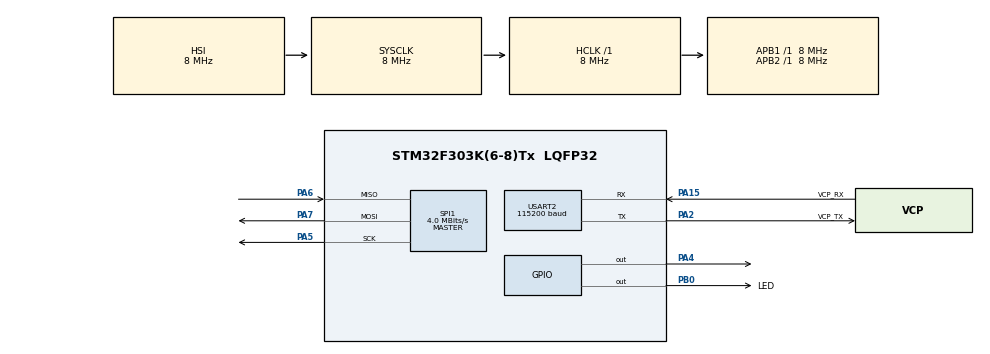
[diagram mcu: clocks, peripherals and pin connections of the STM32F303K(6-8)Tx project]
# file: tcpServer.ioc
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Mcu.Family=STM32F3
Mcu.Name=STM32F303K(6-8)Tx
Mcu.Package=LQFP32
NVIC.PriorityGroup=NVIC_PRIORITYGROUP_4
PA13.GPIO_Label=SWDIO
PA13.Signal=SYS_JTMS-SWDIO
PA14.GPIO_Label=SWCLK
PA14.Signal=SYS_JTCK-SWCLK
PA15.GPIO_Label=VCP_RX
PA15.Mode=Asynchronous
PA15.Signal=USART2_RX
PA2.GPIO_Label=VCP_TX
PA2.Mode=Asynchronous
PA2.Signal=USART2_TX
PA4.Signal=GPIO_Output
PA5.Mode=Full_Duplex_Master
PA5.Signal=SPI1_SCK
PA6.Mode=Full_Duplex_Master
PA6.Signal=SPI1_MISO
PA7.Mode=Full_Duplex_Master
PA7.Signal=SPI1_MOSI
PB0.GPIO_Label=LED
PB0.Signal=GPIO_Output
PF0\ /\ OSC_IN.GPIO_Label=MCO
PF0\ /\ OSC_IN.Signal=RCC_OSC_IN
ProjectManager.HeapSize=0x200
ProjectManager.StackSize=0x400
ProjectManager.TargetToolchain=STM32CubeIDE
RCC.AHBFreq_Value=8000000
RCC.APB1Freq_Value=8000000
RCC.APB2Freq_Value=8000000
RCC.CortexFreq_Value=8000000
RCC.HSE_VALUE=8000000
RCC.HSI_VALUE=8000000
RCC.SYSCLKFreq_VALUE=8000000
SPI1.CalculateBaudRate=4.0 MBits/s
SPI1.DataSize=SPI_DATASIZE_8BIT
SPI1.Direction=SPI_DIRECTION_2LINES
SPI1.Mode=SPI_MODE_MASTER
SPI1.VirtualType=VM_MASTER
USART2.BaudRate=115200
USART2.VirtualMode-Asynchronous=VM_ASYNC
board=NUCLEO-F303K8

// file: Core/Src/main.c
/* USER CODE BEGIN Header */
/**
 ******************************************************************************
 * @file           : main.c
 * @brief          : Main program body
 ******************************************************************************
 * @attention
 *
 * Copyright (c) 2025 STMicroelectronics.
 * All rights reserved.
 *
 * This software is licensed under terms that can be found in the LICENSE file
 * in the root directory of this software component.
 * If no LICENSE file comes with this software, it is provided AS-IS.
 *
 ******************************************************************************
 */
/* USER CODE END Header */
#include "main.h"

/* USER CODE BEGIN Includes */

#include <stdarg.h>

#include <string.h>
#include <stdbool.h>
#include <stdio.h>
#include "wizchip_conf.h"
#include "socket.h"

/* USER CODE END Includes */

SPI_HandleTypeDef hspi1;

UART_HandleTypeDef huart2;

/* USER CODE BEGIN PV */

wiz_NetInfo net_info = {
		.mac  = {0xDE, 0xAD, 0xBE, 0xEF, 0xFE, 0xED},
		.ip   = {192, 168, 2, 99},
		.sn   = {255, 255, 255, 0},
		.gw   = {192, 168, 2, 1},
		.dns  = {8, 8, 8, 8},	// accessible globally by Google
		.dhcp = NETINFO_STATIC  // Use static IP
		//    .dhcp = NETINFO_DHCP
};

#define TCP_PORT 5000

/* USER CODE END PV */

void SystemClock_Config(void);
static void MX_GPIO_Init(void);
static void MX_USART2_UART_Init(void);
static void MX_SPI1_Init(void);

/* USER CODE BEGIN 0 */

// Buffer for received data
#define RX_BUFFER_SIZE 256 // Buffer size for receiving data
typedef struct uartStream
{
	uint8_t rxBuffer[RX_BUFFER_SIZE];
	uint8_t txBuffer[RX_BUFFER_SIZE];
	uint8_t rxByte;
	uint8_t rxFillIndex;
	uint8_t txFillIndex;
	uint8_t rxReadIndex;
	uint8_t txReadIndex;
	uint32_t lastByteTimestamp;
} uartStream;

uartStream uart2Stream;

void myPrintf(/*uint8_t debugLevel,*/ const char *format, ...)
{
	//	if (debugLevel <= DEBUG_LEVEL)
	{
		char buffer[128];
		va_list args;
		va_start(args, format);
		vsnprintf(buffer, sizeof(buffer), format, args);
		va_end(args);

		// Ensure the buffer does not overflow
		size_t length = strlen(buffer);
		size_t index = 0;
		while (length)
		{
			uart2Stream.txBuffer[uart2Stream.txFillIndex++] = buffer[index++];
			if (uart2Stream.txFillIndex >= RX_BUFFER_SIZE)
			{
				uart2Stream.txFillIndex = 0;  // Reset index on overflow
			}
			length--;
		}
	}

	while (uart2Stream.txFillIndex != uart2Stream.txReadIndex)
	{
		// Calculate the number of bytes to send

		// Send all available data from txBuffer
		HAL_UART_Transmit(&huart2, &uart2Stream.txBuffer[uart2Stream.txReadIndex], 1, HAL_MAX_DELAY);
		uart2Stream.txReadIndex++;

		// Prevent buffer overflow
		if (uart2Stream.txReadIndex >= RX_BUFFER_SIZE)
		{
			uart2Stream.txReadIndex = 0;  // Reset index on overflow
		}
	}
}

void wizchipSelect(void) {
	//	myPrintf("wizchipSelect\n");
	HAL_GPIO_WritePin(GPIOA, GPIO_PIN_4, GPIO_PIN_RESET);
}

void wizchipUnselect(void) {
	//	myPrintf("wizchipUnselect\n");
	HAL_GPIO_WritePin(GPIOA, GPIO_PIN_4, GPIO_PIN_SET);
}

void wizchipReadBurst(uint8_t* buff, uint16_t len) {
	//	myPrintf("wizchipReadBurst\n");
	HAL_SPI_Receive(&hspi1, buff, len, HAL_MAX_DELAY);
}

void wizchipWriteBurst(uint8_t* buff, uint16_t len) {
	//	myPrintf("wizchipWriteBurst\n");
	HAL_SPI_Transmit(&hspi1, buff, len, HAL_MAX_DELAY);
}

uint8_t wizchipReadByte(void) {
	//	myPrintf("wizchipReadByte\n");
	uint8_t byte;
	wizchipReadBurst(&byte, sizeof(byte));
	return byte;
}

void wizchipWriteByte(uint8_t byte) {
	//	myPrintf("wizchipWriteByte\n");
	wizchipWriteBurst(&byte, sizeof(byte));
}

void wizChipInit()
{
	reg_wizchip_cs_cbfunc(wizchipSelect, wizchipUnselect);
	reg_wizchip_spi_cbfunc(wizchipReadByte, wizchipWriteByte);
	reg_wizchip_spiburst_cbfunc(wizchipReadBurst, wizchipWriteBurst);

	myPrintf("wiznet functions registered\n");

	/*The W5500 has its own internal 32KB RAM for network data buffering
	 *(16 KB for RX, 16 KB for TX, or You can split each 16 KB block
	 * among the 8 sockets as needed).
	 */
	uint8_t rx_tx_buff_sizes[] = {2, 2, 2, 2, 2, 2, 2, 2};  // 2KB assigned for Rx & TX for each
	wizchip_init(rx_tx_buff_sizes, rx_tx_buff_sizes);
}

uint8_t checkLinkStatus(void)
{
	uint8_t phycfgr = getPHYCFGR();
	if (phycfgr & PHYCFGR_LNK_ON) {
		return 1; // Link is up
	} else {
		return 0; // Link is down
	}
}

/* USER CODE END 0 */

int main(void)
{

  /* MCU Configuration--------------------------------------------------------*/

  /* Reset of all peripherals, Initializes the Flash interface and the Systick. */
  HAL_Init();

  /* Configure the system clock */
  SystemClock_Config();

  /* Initialize all configured peripherals */
  MX_GPIO_Init();
  MX_USART2_UART_Init();
  MX_SPI1_Init();
  /* USER CODE BEGIN 2 */

  wizChipInit();

  wizchip_setnetinfo(&net_info);

	while (checkLinkStatus() == 0)
	{
		myPrintf("Waiting for link to be established...\n");
		HAL_Delay(1000); // Wait for 1 second before checking again
	}

	myPrintf("Link established, initializing W5500...\n");

	/**
	 * Creates a new socket for TCP communication.
	 * @param 0 : The socket number or channel. Typically, this is an integer value (0-7)
	 * 	representing the hardware socket/channel to use.
	 * @param Sn_MR_TCP : The protocol mode for the socket. This constant specifies the socket will operate in TCP mode.
	 * @param 5000 :  The port number to bind the socket. For TCP, gave random port no 5000.
	 * @param SF_TCP_NODELAY :  Socket flag options. This controls socket behavior.
	 * @return :    Returns the socket descriptor (integer >= 0) on success, or a negative value on error.
	 */

	int tcp_sock = socket(0, Sn_MR_TCP, TCP_PORT, SF_TCP_NODELAY);

	if (tcp_sock != 0)
	{
		myPrintf("Failed to create TCP socket\r\n");
	}
	else
	{
		int8_t ret = listen(tcp_sock);
		if (ret != SOCK_OK)
		{
			myPrintf("Failed to listen on TCP socket: %d\r\n", ret);
			close(tcp_sock);
		}
		else
		{
			myPrintf("TCP server listening on port %d\r\n",TCP_PORT);
		}
	}

	uint8_t connectionStatus = 0;
  /* USER CODE END 2 */

  /* Infinite loop */
  /* USER CODE BEGIN WHILE */
	while (1)
	{

		if (checkLinkStatus() == 0)  // checking if link disconnected
		{
			if (connectionStatus != 0)  // connectionStatus is flag to keep track connection
			{
				myPrintf("Ethernet link lost! Closing TCP connection.\r\n");
				connectionStatus = 0;
				disconnect(0); // socket number 0 is disconnected
			}
			while (checkLinkStatus() == 0)
			{
				myPrintf("Waiting for link to be established...\n");
				HAL_Delay(1000);
			}

			myPrintf("Ethernet link re-established.\n");

			// Re-create the socket after link is up/established
			int tcp_sock = socket(0, Sn_MR_TCP, TCP_PORT, SF_TCP_NODELAY);

			if (tcp_sock == 0)
			{
				int8_t ret = listen(tcp_sock);
				if (ret == SOCK_OK)
				{
					myPrintf("TCP server re-listening on port %d\r\n", TCP_PORT);
				}
			}
			continue; // Skip rest of loop until link is up
		}

		// This is part is for TCP Client connection
		// Check TCP socket connection status
		uint8_t sock_status = getSn_SR(0); //non blocking call
		if (sock_status == SOCK_ESTABLISHED)
		{
			if(connectionStatus == 0)
			{
				connectionStatus = 1; // Set connection status to connected
				myPrintf("TCP client connected\r\n");
				const char msgOnConnection[] = "Welcome to DevHeads\n";
				int32_t sent_len = send(0, msgOnConnection, strlen(msgOnConnection));
				if (sent_len != strlen(msgOnConnection)) {
					myPrintf("Failed to send data back to client\r\n");
				}
			}

			if(connectionStatus == 1)
			{
				uint8_t tcp_rx_buf[64]={0};
				uint8_t tcp_tx_buf[64]={0};
				int32_t recv_len = recv(0, tcp_rx_buf, sizeof(tcp_rx_buf)); //blocking call
				if (recv_len > 0)
				{
					myPrintf("Received %ld bytes from TCP client\r\n", recv_len);
					myPrintf("data received =%s\n", tcp_rx_buf);
					tcp_rx_buf[recv_len] = '\0';

					if(strcmp((char*)tcp_rx_buf,"ON") == 0)
					{
						HAL_GPIO_WritePin(LED_GPIO_Port, LED_Pin, GPIO_PIN_SET); // Turn on LED
						// Echo back the received data (for testing)
						strcpy((char *)tcp_tx_buf, "\nLED IS ON");
					}
					else if(strcmp((char*)tcp_rx_buf, "OFF") == 0)
					{
						HAL_GPIO_WritePin(LED_GPIO_Port, LED_Pin, GPIO_PIN_RESET); // Turn off LED
						// Echo back the received data (for testing)
						strcpy((char *)tcp_tx_buf, "\nLED IS OFF");
					}

					int32_t sent_len = send(0, tcp_tx_buf, strlen(tcp_tx_buf));
					if (sent_len != strlen(tcp_tx_buf)) {
						myPrintf("Failed to send data back to client\r\n");
					}
				}
			}
		}
		else if (sock_status == SOCK_CLOSE_WAIT)
		{
			connectionStatus = 0;
			myPrintf("TCP client disconnected\r\n");
			disconnect(0);

			while (checkLinkStatus() == 0)
			{
				myPrintf("Waiting for link to be established...\n");
				HAL_Delay(1000); // Wait for 1 second before checking again
			}

		}
		else if (sock_status == SOCK_CLOSED)
		{
			// Re-listen if socket closed
			connectionStatus = 0;
			int tcp_sock = socket(0, Sn_MR_TCP, TCP_PORT, SF_TCP_NODELAY);
			if (tcp_sock == 0)
			{
				int8_t ret = listen(tcp_sock);
				if (ret == SOCK_OK)
				{
					myPrintf("TCP server re-listening on port 5000\r\n");
				}
			}
		}

    /* USER CODE END WHILE */

	}
}

void SystemClock_Config(void)
{
  RCC_OscInitTypeDef RCC_OscInitStruct = {0};
  RCC_ClkInitTypeDef RCC_ClkInitStruct = {0};

  /** Initializes the RCC Oscillators according to the specified parameters
  * in the RCC_OscInitTypeDef structure.
  */
  RCC_OscInitStruct.OscillatorType = RCC_OSCILLATORTYPE_HSI;
  RCC_OscInitStruct.HSIState = RCC_HSI_ON;
  RCC_OscInitStruct.HSICalibrationValue = RCC_HSICALIBRATION_DEFAULT;
  RCC_OscInitStruct.PLL.PLLState = RCC_PLL_NONE;
  if (HAL_RCC_OscConfig(&RCC_OscInitStruct) != HAL_OK)
  {
    Error_Handler();
  }

  /** Initializes the CPU, AHB and APB buses clocks
  */
  RCC_ClkInitStruct.ClockType = RCC_CLOCKTYPE_HCLK|RCC_CLOCKTYPE_SYSCLK
                              |RCC_CLOCKTYPE_PCLK1|RCC_CLOCKTYPE_PCLK2;
  RCC_ClkInitStruct.SYSCLKSource = RCC_SYSCLKSOURCE_HSI;
  RCC_ClkInitStruct.AHBCLKDivider = RCC_SYSCLK_DIV1;
  RCC_ClkInitStruct.APB1CLKDivider = RCC_HCLK_DIV1;
  RCC_ClkInitStruct.APB2CLKDivider = RCC_HCLK_DIV1;

  if (HAL_RCC_ClockConfig(&RCC_ClkInitStruct, FLASH_LATENCY_0) != HAL_OK)
  {
    Error_Handler();
  }
}

static void MX_SPI1_Init(void)
{

  /* SPI1 parameter configuration*/
  hspi1.Instance = SPI1;
  hspi1.Init.Mode = SPI_MODE_MASTER;
  hspi1.Init.Direction = SPI_DIRECTION_2LINES;
  hspi1.Init.DataSize = SPI_DATASIZE_8BIT;
  hspi1.Init.CLKPolarity = SPI_POLARITY_LOW;
  hspi1.Init.CLKPhase = SPI_PHASE_1EDGE;
  hspi1.Init.NSS = SPI_NSS_SOFT;
  hspi1.Init.BaudRatePrescaler = SPI_BAUDRATEPRESCALER_2;
  hspi1.Init.FirstBit = SPI_FIRSTBIT_MSB;
  hspi1.Init.TIMode = SPI_TIMODE_DISABLE;
  hspi1.Init.CRCCalculation = SPI_CRCCALCULATION_DISABLE;
  hspi1.Init.CRCPolynomial = 7;
  hspi1.Init.CRCLength = SPI_CRC_LENGTH_DATASIZE;
  hspi1.Init.NSSPMode = SPI_NSS_PULSE_ENABLE;
  if (HAL_SPI_Init(&hspi1) != HAL_OK)
  {
    Error_Handler();
  }

}

static void MX_USART2_UART_Init(void)
{

  huart2.Instance = USART2;
  huart2.Init.BaudRate = 115200;
  huart2.Init.WordLength = UART_WORDLENGTH_8B;
  huart2.Init.StopBits = UART_STOPBITS_1;
  huart2.Init.Parity = UART_PARITY_NONE;
  huart2.Init.Mode = UART_MODE_TX_RX;
  huart2.Init.HwFlowCtl = UART_HWCONTROL_NONE;
  huart2.Init.OverSampling = UART_OVERSAMPLING_16;
  huart2.Init.OneBitSampling = UART_ONE_BIT_SAMPLE_DISABLE;
  huart2.AdvancedInit.AdvFeatureInit = UART_ADVFEATURE_NO_INIT;
  if (HAL_UART_Init(&huart2) != HAL_OK)
  {
    Error_Handler();
  }

}

static void MX_GPIO_Init(void)
{
  GPIO_InitTypeDef GPIO_InitStruct = {0};

  /* GPIO Ports Clock Enable */
  __HAL_RCC_GPIOF_CLK_ENABLE();
  __HAL_RCC_GPIOA_CLK_ENABLE();
  __HAL_RCC_GPIOB_CLK_ENABLE();

  /*Configure GPIO pin Output Level */
  HAL_GPIO_WritePin(GPIOA, GPIO_PIN_4, GPIO_PIN_RESET);

  /*Configure GPIO pin Output Level */
  HAL_GPIO_WritePin(LED_GPIO_Port, LED_Pin, GPIO_PIN_RESET);

  /*Configure GPIO pin : PA4 */
  GPIO_InitStruct.Pin = GPIO_PIN_4;
  GPIO_InitStruct.Mode = GPIO_MODE_OUTPUT_PP;
  GPIO_InitStruct.Pull = GPIO_NOPULL;
  GPIO_InitStruct.Speed = GPIO_SPEED_FREQ_LOW;
  HAL_GPIO_Init(GPIOA, &GPIO_InitStruct);

  /*Configure GPIO pin : LED_Pin */
  GPIO_InitStruct.Pin = LED_Pin;
  GPIO_InitStruct.Mode = GPIO_MODE_OUTPUT_PP;
  GPIO_InitStruct.Pull = GPIO_NOPULL;
  GPIO_InitStruct.Speed = GPIO_SPEED_FREQ_LOW;
  HAL_GPIO_Init(LED_GPIO_Port, &GPIO_InitStruct);

}

void Error_Handler(void)
{
	__disable_irq();
	while (1)
	{
	}
}
